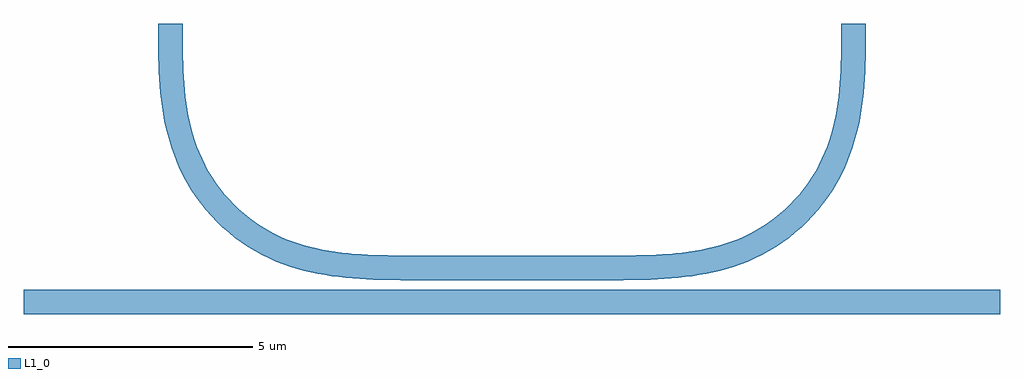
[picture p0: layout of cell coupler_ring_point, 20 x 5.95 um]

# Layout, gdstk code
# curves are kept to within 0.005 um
import gdstk
lib = gdstk.Library(unit=1e-6, precision=1e-09)
def R(c, l, rs):  # rectangles x0, y0, x1, y1
    for r in rs: c.add(gdstk.rectangle(r[:2], r[2:], *l))
def P(c, l, *ps):  # polygons
    for p in ps: c.add(gdstk.Polygon(p, *l))
L1_0 = (1, 0)

coupler_ring_point = lib.new_cell('coupler_ring_point')
R(coupler_ring_point, L1_0, [(-12,-0.25,-9,0.25), (-9,-0.25,-4,0.25), (-4,-0.25,0,0.25), (0,-0.25,5,0.25), (5,-0.25,8,0.25), (-4,0.45,0,0.95)])
P(coupler_ring_point, L1_0, [(-4,0.45),(-4.841,0.46),(-5.41,0.497),(-5.696,0.531),(-5.982,0.579),(-6.408,0.682),(-6.549,0.725),(-6.826,0.828),(-6.977,0.894),(-7.27,1.047),(-7.411,1.132),(-7.681,1.321),(-7.933,1.533),(-8.053,1.647),(-8.167,1.767),(-8.379,2.019),(-8.568,2.289),(-8.653,2.43),(-8.733,2.575),(-8.872,2.874),(-8.975,3.151),(-9.018,3.292),(-9.121,3.718),(-9.169,4.004),(-9.203,4.29),(-9.24,4.859),(-9.25,5.7),(-8.75,5.7),(-8.74,4.877),(-8.706,4.34),(-8.674,4.075),(-8.63,3.814),(-8.538,3.432),(-8.5,3.308),(-8.41,3.066),(-8.289,2.806),(-8.22,2.68),(-8.146,2.558),(-7.982,2.324),(-7.798,2.104),(-7.699,2.001),(-7.596,1.902),(-7.376,1.718),(-7.142,1.554),(-7.02,1.48),(-6.894,1.411),(-6.634,1.29),(-6.392,1.2),(-6.268,1.162),(-5.886,1.07),(-5.625,1.026),(-5.36,0.994),(-4.823,0.96),(-4,0.95)],
  [(0,0.45),(0.841,0.46),(1.41,0.497),(1.696,0.531),(1.982,0.579),(2.408,0.682),(2.549,0.725),(2.826,0.828),(2.977,0.894),(3.27,1.047),(3.411,1.132),(3.681,1.321),(3.933,1.533),(4.053,1.647),(4.167,1.767),(4.379,2.019),(4.568,2.289),(4.653,2.43),(4.733,2.575),(4.872,2.874),(4.975,3.151),(5.018,3.292),(5.121,3.718),(5.169,4.004),(5.203,4.29),(5.24,4.859),(5.25,5.7),(4.75,5.7),(4.74,4.877),(4.706,4.34),(4.674,4.075),(4.63,3.814),(4.538,3.432),(4.5,3.308),(4.41,3.066),(4.289,2.806),(4.22,2.68),(4.146,2.558),(3.982,2.324),(3.798,2.104),(3.699,2.001),(3.596,1.902),(3.376,1.718),(3.142,1.554),(3.02,1.48),(2.894,1.411),(2.634,1.29),(2.392,1.2),(2.268,1.162),(1.886,1.07),(1.625,1.026),(1.36,0.994),(0.823,0.96),(0,0.95)])

lib.write_gds('coupler_ring_point.gds')
